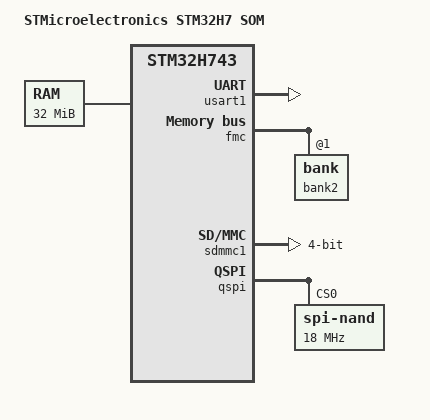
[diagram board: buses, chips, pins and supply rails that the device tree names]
/*
 * Emcraft Systems, www.emcraft.com, (C) Copyright 2019
 *
 * This file is dual-licensed: you can use it either under the terms
 * of the GPL or the X11 license, at your option. Note that this dual
 * licensing only applies to this file, and not this project as a
 * whole.
 *
 *  a) This file is free software; you can redistribute it and/or
 *     modify it under the terms of the GNU General Public License as
 *     published by the Free Software Foundation; either version 2 of the
 *     License, or (at your option) any later version.
 *
 *     This file is distributed in the hope that it will be useful,
 *     but WITHOUT ANY WARRANTY; without even the implied warranty of
 *     MERCHANTABILITY or FITNESS FOR A PARTICULAR PURPOSE.  See the
 *     GNU General Public License for more details.
 *
 * Or, alternatively,
 *
 *  b) Permission is hereby granted, free of charge, to any person
 *     obtaining a copy of this software and associated documentation
 *     files (the "Software"), to deal in the Software without
 *     restriction, including without limitation the rights to use,
 *     copy, modify, merge, publish, distribute, sublicense, and/or
 *     sell copies of the Software, and to permit persons to whom the
 *     Software is furnished to do so, subject to the following
 *     conditions:
 *
 *     The above copyright notice and this permission notice shall be
 *     included in all copies or substantial portions of the Software.
 *
 *     THE SOFTWARE IS PROVIDED "AS IS", WITHOUT WARRANTY OF ANY KIND,
 *     EXPRESS OR IMPLIED, INCLUDING BUT NOT LIMITED TO THE WARRANTIES
 *     OF MERCHANTABILITY, FITNESS FOR A PARTICULAR PURPOSE AND
 *     NONINFRINGEMENT. IN NO EVENT SHALL THE AUTHORS OR COPYRIGHT
 *     HOLDERS BE LIABLE FOR ANY CLAIM, DAMAGES OR OTHER LIABILITY,
 *     WHETHER IN AN ACTION OF CONTRACT, TORT OR OTHERWISE, ARISING
 *     FROM, OUT OF OR IN CONNECTION WITH THE SOFTWARE OR THE USE OR
 *     OTHER DEALINGS IN THE SOFTWARE.
 */

/dts-v1/;
#include "stm32h743.dtsi"
#include "stm32h743-pinctrl.dtsi"
#include <dt-bindings/memory/stm32-sdram.h>

/ {
	model = "STMicroelectronics STM32H7 SOM";
	compatible = "st,stm32h7-som", "st,stm32h743";

	chosen {
		bootargs = "root=/dev/ram";
		stdout-path = "serial0:115200n8";
	};

	memory {
		reg = <0xd0000000 0x2000000>;
		u-boot,dm-spl;
	};

	aliases {
		serial0 = &usart1;
		gpio0 = &gpioa;
		gpio1 = &gpiob;
		gpio2 = &gpioc;
		gpio3 = &gpiod;
		gpio4 = &gpioe;
		gpio5 = &gpiof;
		gpio6 = &gpiog;
		gpio7 = &gpioh;
		gpio8 = &gpioi;
		gpio9 = &gpioj;
		gpio10 = &gpiok;
		spi0 = &qspi;
	};
};

&timer5 {
	u-boot,dm-spl;
};

&usart1 {
	u-boot,dm-spl;
	pinctrl-0 = <&usart1_pins>;
	pinctrl-names = "default";
	status = "okay";
};

&usart1_pins {
	u-boot,dm-spl;
	pins1 {
		u-boot,dm-spl;
	};
	pins2 {
		u-boot,dm-spl;
	};
};

&fmc {
	pinctrl-0 = <&fmc_pins>;
	pinctrl-names = "default";
	status = "okay";
	u-boot,dm-spl;

	/*
	 * Memory configuration from sdram datasheet IS42S32800G-6BLI
	 * firsct bank is bank@0
	 * second bank is bank@1
	 */
	bank2: bank@1 {
		st,sdram-control = /bits/ 8 <NO_COL_9 NO_ROW_12 MWIDTH_32 BANKS_4
				  CAS_2 SDCLK_3 RD_BURST_EN RD_PIPE_DL_0>;
		st,sdram-timing = /bits/ 8 <TMRD_1 TXSR_1 TRAS_1 TRC_6 TRP_2
				  TWR_1 TRCD_1>;
		st,sdram-refcount = <1539>;
		u-boot,dm-spl;
	};
};
&fmc_pins {
	u-boot,dm-spl;
};

&sdmmc1 {
	status = "okay";
	pinctrl-0 = <&sdmmc1_pins>,
		    <&pinctrl_sdmmc1_level_shifter>;
	pinctrl-names = "default";
	bus-width = <4>;
	st,dirpol;
};

&qspi_pins {
	u-boot,dm-spl;
};

&qspi {
	compatible = "st,stm32-qspi-w25n01";
	status = "okay";
	pinctrl-0 = <&qspi_pins>;
	pinctrl-names = "default";
	u-boot,dm-spl;

	spi-nand@0 {
		compatible = "spi-nand";
		u-boot,dm-spl;
		spi-max-frequency = <18000000>; /* input clock */
		spi-tx-bus-width = <4>;
		spi-rx-bus-width = <4>;
		memory-map = <0x90000000 0x1000000>;
		reg = <0>; /* CS0 */
		spi-cpol;
		spi-cpha;
	};
};
